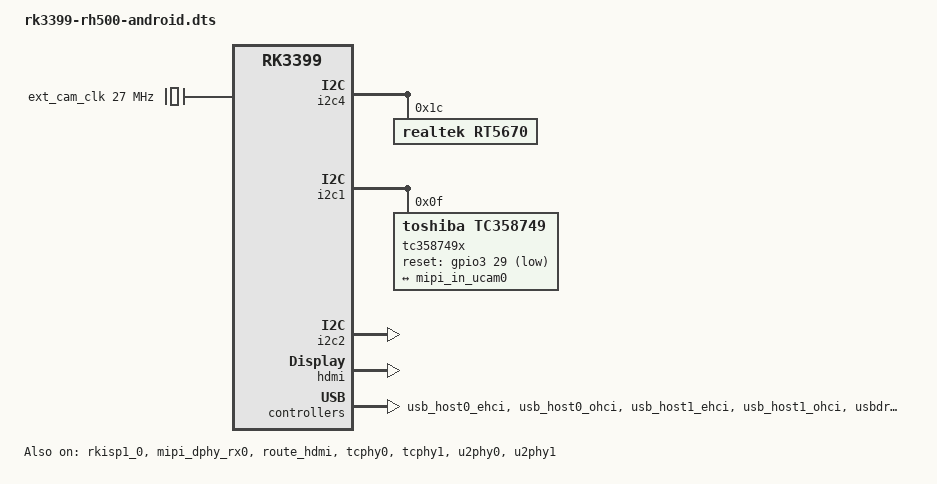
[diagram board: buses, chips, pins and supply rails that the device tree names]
/*
 * Copyright (c) 2017 Fuzhou Rockchip Electronics Co., Ltd
 *
 * This file is dual-licensed: you can use it either under the terms
 * of the GPL or the X11 license, at your option. Note that this dual
 * licensing only applies to this file, and not this project as a
 * whole.
 *
 *  a) This file is free software; you can redistribute it and/or
 *     modify it under the terms of the GNU General Public License as
 *     published by the Free Software Foundation; either version 2 of the
 *     License, or (at your option) any later version.
 *
 *     This file is distributed in the hope that it will be useful,
 *     but WITHOUT ANY WARRANTY; without even the implied warranty of
 *     MERCHANTABILITY or FITNESS FOR A PARTICULAR PURPOSE.  See the
 *     GNU General Public License for more details.
 *
 * Or, alternatively,
 *
 *  b) Permission is hereby granted, free of charge, to any person
 *     obtaining a copy of this software and associated documentation
 *     files (the "Software"), to deal in the Software without
 *     restriction, including without limitation the rights to use,
 *     copy, modify, merge, publish, distribute, sublicense, and/or
 *     sell copies of the Software, and to permit persons to whom the
 *     Software is furnished to do so, subject to the following
 *     conditions:
 *
 *     The above copyright notice and this permission notice shall be
 *     included in all copies or substantial portions of the Software.
 *
 *     THE SOFTWARE IS PROVIDED "AS IS", WITHOUT WARRANTY OF ANY KIND,
 *     EXPRESS OR IMPLIED, INCLUDING BUT NOT LIMITED TO THE WARRANTIES
 *     OF MERCHANTABILITY, FITNESS FOR A PARTICULAR PURPOSE AND
 *     NONINFRINGEMENT. IN NO EVENT SHALL THE AUTHORS OR COPYRIGHT
 *     HOLDERS BE LIABLE FOR ANY CLAIM, DAMAGES OR OTHER LIABILITY,
 *     WHETHER IN AN ACTION OF CONTRACT, TORT OR OTHERWISE, ARISING
 *     FROM, OUT OF OR IN CONNECTION WITH THE SOFTWARE OR THE USE OR
 *     OTHER DEALINGS IN THE SOFTWARE.
 */

/dts-v1/;

#include "rk3399-rh500.dtsi"
#include "rk3399-android.dtsi"

/ {
	compatible = "rockchip,android", "rockchip,rk3399-rh500", "rockchip,rk3399";

    chosen {
        bootargs = "console=ttyFIQ0 androidboot.baseband=N/A androidboot.selinux=permissive androidboot.veritymode=enforcing androidboot.hardware=rk30board androidboot.console=ttyFIQ0 init=/init initrd=0x62000000,0x00800000 earlycon=uart8250,mmio32,0xff1a0000 swiotlb=1";
    };
	
	ext_cam_clk: external-camera-clock {
		compatible = "fixed-clock";
		clock-frequency = <27000000>;
		clock-output-names = "CLK_CAMERA_27MHZ";
		#clock-cells = <0>;
	};
};

&fiq_debugger {
	pinctrl-0 = <&uart2c_xfer>;
};

&firmware_android {
	compatible = "android,firmware";
	fstab {
		compatible = "android,fstab";
		system {
			compatible = "android,system";
			dev = "/dev/block/by-name/system";
			type = "ext4";
			mnt_flags = "ro,barrier=1,inode_readahead_blks=8";
			fsmgr_flags = "wait,verify";
		};
		vendor {
			compatible = "android,vendor";
			dev = "/dev/block/by-name/vendor";
			type = "ext4";
			mnt_flags = "ro,barrier=1,inode_readahead_blks=8";
			fsmgr_flags = "wait,verify";
		};
	};
};

&rkisp1_0 {
	status = "okay";

	port {
		#address-cells = <1>;
		#size-cells = <0>;

		isp0_mipi_in: endpoint@0 {
			reg = <0>;
			remote-endpoint = <&dphy_rx0_out>;
		};
	};
};

&mipi_dphy_rx0 {
	status = "okay";

	ports {
		#address-cells = <1>;
		#size-cells = <0>;
		port@0 {
			reg = <0>;
			#address-cells = <1>;
			#size-cells = <0>;

			mipi_in_ucam0: endpoint@1 {
				reg = <1>;
				remote-endpoint = <&hdmiin_out0>;
				data-lanes = <1 2 3 4>;
			};
		};
		port@1 {
			reg = <1>;
			#address-cells = <1>;
			#size-cells = <0>;

			dphy_rx0_out: endpoint@0 {
				reg = <0>;
				remote-endpoint = <&isp0_mipi_in>;
			};
		};
	};
};

&isp0_mmu {
	status = "okay";
};

&isp1_mmu {
	status = "okay";
};

&pinctrl {
	pinctrl-names = "default";
	pinctrl-0 = <&rh_io_gpio>;

	sdio0 {
		sdio0_bus1: sdio0-bus1 {
			rockchip,pins =
				<2 20 RK_FUNC_1 &pcfg_pull_up_20ma>;
		};

		sdio0_bus4: sdio0-bus4 {
			rockchip,pins =
				<2 20 RK_FUNC_1 &pcfg_pull_up_20ma>,
				<2 21 RK_FUNC_1 &pcfg_pull_up_20ma>,
				<2 22 RK_FUNC_1 &pcfg_pull_up_20ma>,
				<2 23 RK_FUNC_1 &pcfg_pull_up_20ma>;
		};

		sdio0_cmd: sdio0-cmd {
			rockchip,pins =
				<2 24 RK_FUNC_1 &pcfg_pull_up_20ma>;
		};

		sdio0_clk: sdio0-clk {
			rockchip,pins =
				<2 25 RK_FUNC_1 &pcfg_pull_none_20ma>;
		};
	};

	sdmmc {
		sdmmc_bus1: sdmmc-bus1 {
			rockchip,pins =
				<4 8 RK_FUNC_1 &pcfg_pull_up_8ma>;
		};

		sdmmc_bus4: sdmmc-bus4 {
			rockchip,pins =
				<4 8 RK_FUNC_1 &pcfg_pull_up_8ma>,
				<4 9 RK_FUNC_1 &pcfg_pull_up_8ma>,
				<4 10 RK_FUNC_1 &pcfg_pull_up_8ma>,
				<4 11 RK_FUNC_1 &pcfg_pull_up_8ma>;
		};

		sdmmc_clk: sdmmc-clk {
			rockchip,pins =
				<4 12 RK_FUNC_1 &pcfg_pull_none_18ma>;
		};

		sdmmc_cmd: sdmmc-cmd {
			rockchip,pins =
				<4 13 RK_FUNC_1 &pcfg_pull_up_8ma>;
		};

		sdmmc_cd: sdmcc-cd {
				rockchip,pins =
					<0 7 RK_FUNC_1 &pcfg_pull_up>;
		};

	};

	fusb30x {
		fusb0_int: fusb0-int {
			rockchip,pins =
				<1 2 RK_FUNC_GPIO &pcfg_pull_up>;
		};
	};
	
	/*compat {
		cpt_gpio: cpt-gpio {
			rockchip,pins =
				<1 18 RK_FUNC_GPIO &pcfg_output_low>;
		};
	};*/

	rockchip_io_rh{
		rh_io_gpio: rh_io_gpio {
			rockchip,pins =
				<0 2 RK_FUNC_GPIO &pcfg_output_low>,		//GPIO0_A2   HDMI4_IN_HPD_CTR
				<0 6 RK_FUNC_GPIO &pcfg_output_low>,		//GPIO0_A6   HDMI6_IN_HPD_CTR
				<0 8 RK_FUNC_GPIO &pcfg_output_low>,		//GPIO0_B0   HDMI5_IN_HPD_CTR
				<0 11 RK_FUNC_GPIO &pcfg_output_low>,		//GPIO0_B3   HDMI32_SEL2
				<0 12 RK_FUNC_GPIO &pcfg_output_low>,		//GPIO0_B4   HDMI2_IN_HPD_CTR
				<0 13 RK_FUNC_GPIO &pcfg_output_low>,		//GPIO0_B5   HDMI3_IN_HPD_CTR
				
				<2 2 RK_FUNC_GPIO &pcfg_output_low>,		//GPIO2_A2   MUTE
				<2 3 RK_FUNC_GPIO &pcfg_output_low>,		//GPIO2_A3   RELAY_CK_OUT3
				<2 4 RK_FUNC_GPIO &pcfg_output_high>,		//GPIO2_A4   ZIGBEE_RESET
				<2 5 RK_FUNC_GPIO &pcfg_output_low>,		//GPIO2_A5   kz_12v_ctr_pc
				<2 6 RK_FUNC_GPIO &pcfg_output_low>,		//GPIO2_A6   kz_pc_switch
				<2 7 RK_FUNC_GPIO &pcfg_output_low>,		//GPIO2_A7   kz_5v_CTR

				<2 8 RK_FUNC_GPIO &pcfg_output_high>,		//GPIO2_B0   SD_LR_CTR
				<2 9 RK_FUNC_GPIO &pcfg_output_low>,		//GPIO2_B1   SPI2_RXD

				<2 10 RK_FUNC_GPIO &pcfg_output_high>,		//GPIO2_B2   SPI2_TXD
				
				<2 11 RK_FUNC_GPIO &pcfg_output_low>,		//GPIO2_B3   SPI_CLK
				
				<2 12 RK_FUNC_GPIO &pcfg_output_low>,		//GPIO2_B4   SPI2_CSn0

				<3 10 RK_FUNC_GPIO &pcfg_output_low>,		//GPIO3_B2    OUTPUT_IO3
				<3 16 RK_FUNC_GPIO &pcfg_output_low>,		//GPIO3_C0    HDMI3399_DP_HPD


				<1 3  RK_FUNC_GPIO &pcfg_output_low>,		//GPIO1_A3    HDMI3399_PORT_HPD

				<1 4  RK_FUNC_GPIO &pcfg_output_high>,		//GPIO1_A4    HDMIIN2_PWR
				
				<1 22  RK_FUNC_GPIO &pcfg_output_low>,		//GPIO1_C6     kz_5v_ctr_arm
				
				
				<2 26  RK_FUNC_GPIO &pcfg_output_low>,		//GPIO2_D2     HDMI31_SEL2(PCIE_CLKREQ#)
				<2 28  RK_FUNC_GPIO &pcfg_output_low>,		//GPIO2_D4     HDMI32_SEL1(PCIE_PERST#)

				<3 30  RK_FUNC_GPIO &pcfg_output_low>,		//GPIO3_D6     RELAY_CK_OUT2

				<4 7   RK_FUNC_GPIO &pcfg_output_high>,		//GPIO4_A7     HDMIIN_PWR

				<4 18  RK_FUNC_GPIO &pcfg_output_low>,		//GPIO4_C2     LED_CTL

				<4 24  RK_FUNC_GPIO &pcfg_output_low>,		//GPIO4_D0     OUTPUT_IO1
				<4 27  RK_FUNC_GPIO &pcfg_output_low>,		//GPIO4_D3     HDMI31_SEL1
				<4 28  RK_FUNC_GPIO &pcfg_output_low>,		//GPIO4_D4     FAN_CTL_H
				<4 29 RK_FUNC_GPIO  &pcfg_output_high>,		//GPIO4_D5     PS176_HDMI_EN  
				<4 30 RK_FUNC_GPIO  &pcfg_output_low>,		//GPIO4_D6     OUTPUT_IO2

				<4 7 RK_FUNC_GPIO &pcfg_output_high>, 		//GPIO4_A7		HDMIIN_PWR
				<3 29 RK_FUNC_GPIO &pcfg_output_high>,		//GPIO3_D5		HDMIIN_RST
				<3 28 RK_FUNC_GPIO &pcfg_output_high>,		//GPIO3_D4		HDMIIN_STANDBY
				<4 5 RK_FUNC_GPIO &pcfg_output_low>,		//GPIO4_A5		HDMIIN_INT

				<1 4 RK_FUNC_GPIO &pcfg_output_high>,		//HDMIIN2_PWR     GPIO1_A4
				<1 1 RK_FUNC_GPIO &pcfg_output_high>,		//MIPI_RX1_RST    GPIO1_A1
				<1 2 RK_FUNC_GPIO &pcfg_output_high>,		//MIPI_RX1_STBY   GPIO1_A2
				<1 0 RK_FUNC_GPIO &pcfg_output_low>;		//MIPI_RX1_INT    GPIO1_A0
		};

		rh_io_gpio2: rh_io_gpio2 {
			rockchip,pins =
				<4 21  RK_FUNC_GPIO &pcfg_input>,		//GPIO4_C5     INPUT_B_IO2#
				<4 22  RK_FUNC_GPIO &pcfg_input>,		//GPIO4_C6     INPUT_B_IO3#
				<1 9  RK_FUNC_GPIO &pcfg_input>,			//GPIO1_B1    INPUT_A_IO1
				<1 10  RK_FUNC_GPIO &pcfg_input>,			//GPIO1_B2    INPUT_A_IO2
				<1 13  RK_FUNC_GPIO &pcfg_input>,			//GPIO1_B5    INPUT_A_IO3
				<1 18  RK_FUNC_GPIO &pcfg_input>;			//GPIO1_C2    INPUT_B_IO1#
		};
	};

	hdmiin {
		hdmiin_gpios: hdmiin_gpios {
		rockchip,pins =
				<4 7 RK_FUNC_GPIO &pcfg_pull_none>, 
				<3 29 RK_FUNC_GPIO &pcfg_pull_none>,
				<3 28 RK_FUNC_GPIO &pcfg_pull_none>,
				<4 5 RK_FUNC_GPIO &pcfg_pull_none>;
		};

		hdmiin2_gpios: hdmiin2_gpios {
		rockchip,pins =
				<1 4 RK_FUNC_GPIO &pcfg_pull_none>, 
				<1 1 RK_FUNC_GPIO &pcfg_pull_none>,
				<1 2 RK_FUNC_GPIO &pcfg_pull_none>,
				<1 0 RK_FUNC_GPIO &pcfg_pull_none>;
		};
	};
};

&i2c4 {
	status = "okay";
	fusb0: fusb30x@22 {
		compatible = "fairchild,fusb302";
		reg = <0x22>;
		pinctrl-names = "default";
		pinctrl-0 = <&fusb0_int>;
		vbus-5v-gpios = <&gpio1 3 GPIO_ACTIVE_LOW>;
		int-n-gpios = <&gpio1 2 GPIO_ACTIVE_HIGH>;
		status = "disabled";
	};

	/*rt5670: rt5670@1c {
		#sound-dai-cells = <0>;
		compatible = "rockchip,rt5670";
		reg = <0x1c>;
		clocks = <&cru SCLK_I2S_8CH_OUT>;
		clock-names = "mclk";
		pinctrl-names = "default";
		pinctrl-0 = <&i2s_8ch_mclk>;
		status = "okay";
 	};*/

 	rt5670: rt5670@1c {
 		#sound-dai-cells = <0>;
		compatible = "realtek,rt5670";
		reg = <0x1c>;
		status = "okay";
 	};

 	/*tc358749x_2: tc358749x@0f {
		compatible = "toshiba,tc358749x";
		reg = <0xf>;
		power-gpios = <&gpio1 4 GPIO_ACTIVE_HIGH>;
		reset-gpios = <&gpio1 1 GPIO_ACTIVE_HIGH>;
		stanby-gpios = <&gpio1 2 GPIO_ACTIVE_HIGH>;
		int-gpios = <&gpio1 0 GPIO_ACTIVE_LOW>;
		pinctrl-names = "default";
		pinctrl-0 = <&hdmiin2_gpios>;
		status = "okay";
	};*/
};

/*&i2c1 {
	status = "okay";
	tc358749x: tc358749x@0f {
		#sound-dai-cells = <1>;
		compatible = "toshiba,tc358749x";
		reg = <0x0f>;
		power-gpios = <&gpio4 7 GPIO_ACTIVE_HIGH>;
		reset-gpios = <&gpio3 29 GPIO_ACTIVE_HIGH>;
		stanby-gpios = <&gpio3 28 GPIO_ACTIVE_HIGH>;
		int-gpios = <&gpio4 5 GPIO_ACTIVE_LOW>;
		pinctrl-names = "default";
		pinctrl-0 = <&hdmiin_gpios>;
		status = "okay";
	};
};*/

&i2c1 {
	status = "okay";
	tc358749x: tc358749x@f {
		compatible = "toshiba,tc358749";
		//#sound-dai-cells = <0>;
		reg = <0x0f>;
		status = "okay";
		clocks = <&ext_cam_clk>;
		clock-names = "refclk";
		reset-gpios = <&gpio3 29 GPIO_ACTIVE_LOW>;
		/* hardware irq-pin is dangling
		 * connect it to other gpio then configurate follow interrupt
		 * or del config just using software poll
		 */
		//interrupt-parent = <&gpio2>;
		//interrupts = <12 IRQ_TYPE_LEVEL_LOW>;
		pinctrl-names = "default";
		pinctrl-0 = <&hdmiin_gpios>;
		rockchip,camera-module-index = <0>;
		rockchip,camera-module-facing = "back";
		rockchip,camera-module-name = "CMK-CT0116";
		rockchip,camera-module-lens-name = "Largan-50013A1";
		port {
			hdmiin_out0: endpoint {
				/* Unlinked mipi dphy rx0 */
				remote-endpoint = <&mipi_in_ucam0>;
				data-lanes = <1 2 3 4>;
				clock-noncontinuous;
				link-frequencies =
					/bits/ 64 <297000000>;
			};
		};
	};
};

&i2c2 {
	status = "okay";
};

&hdmi_in_vopl {
	status = "disabled";
};

&dp_in_vopb {
	status = "disabled";
};

&route_hdmi {
	status = "okay";
};

&hdmi {
	status = "okay";
	rockchip,phy-table =
		<74250000 0x8009 0x0004 0x0272>,
		<165000000 0x802b 0x0004 0x0209>,
		<297000000 0x8039 0x0005 0x028d>,
		<594000000 0x8039 0x0000 0x019d>,
		<000000000 0x0000 0x0000 0x0000>;
};

/* 
 * USB
 */

&usb_host0_ehci {
	status = "okay";
};

&usb_host0_ohci {
	status = "okay";
};

&usb_host1_ehci {
	status = "okay";
};

&usb_host1_ohci {
	status = "okay";
};

&tcphy0 {
	//extcon = <&vpd0>;
	status = "okay";
};

&tcphy1 {
	status = "okay";
};

&u2phy0 {
	status = "okay";

	u2phy0_otg: otg-port {
		status = "okay";
	};

	u2phy0_host: host-port {
		phy-supply = <&vcc5v0_sys>;
		status = "okay";
	};
};

&u2phy1 {
	status = "okay";

	u2phy1_otg: otg-port {
		status = "okay";
	};

	u2phy1_host: host-port {
		phy-supply = <&vcc5v0_sys>;
		status = "okay";
	};
};

&usbdrd3_0 {
	//extcon = <&u2phy0>;
	status = "okay";
};

&usbdrd_dwc3_0 {
	//dr_mode = "otg";
	//maximum-speed = "high-speed";
	//phys = <&u2phy0_otg>;
	//phy-names = "usb2-phy";

	//dr_mode = "host";
	//maximum-speed = "high-speed";
	//phys = <&u2phy0_host>;
	//phy-names = "usb2-phy";
	
	status = "okay";
};

&usbdrd3_1 {
	status = "okay";
};

&usbdrd_dwc3_1 {
	status = "okay";
};
